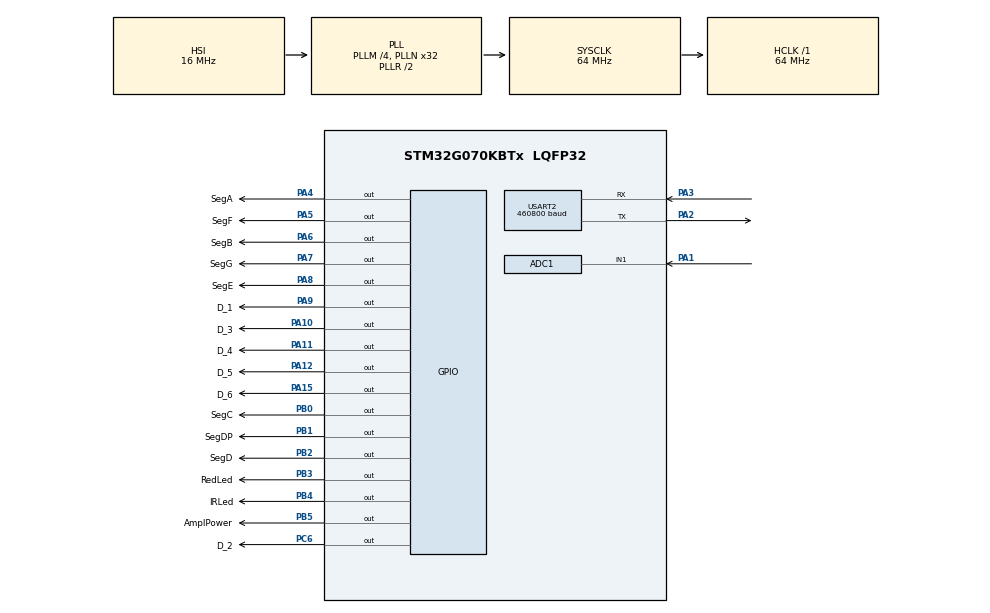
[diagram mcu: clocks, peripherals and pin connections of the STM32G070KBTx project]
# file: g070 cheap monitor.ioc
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ADC1.Channel-0\#ChannelRegularConversion=ADC_CHANNEL_1
ADC1.ClockPrescaler=ADC_CLOCK_ASYNC_DIV4
ADC1.ExternalTrigConv=ADC_SOFTWARE_START
ADC1.NbrOfConversionFlag=1
ADC1.OversamplingMode=ENABLE
ADC1.Rank-0\#ChannelRegularConversion=1
ADC1.Ratio=ADC_OVERSAMPLING_RATIO_16
ADC1.SamplingTime-0\#ChannelRegularConversion=ADC_SAMPLINGTIME_COMMON_1
ADC1.SamplingTimeCommon1=ADC_SAMPLETIME_39CYCLES_5
ADC1.SamplingTimeCommon2=ADC_SAMPLETIME_39CYCLES_5
ADC1.SelectedChannel=ADC_CHANNEL_1|ADC_CHANNEL_VREFINT
ADC1.master=1
IWDG.Prescaler=IWDG_PRESCALER_256
Mcu.Family=STM32G0
Mcu.Name=STM32G070KBTx
Mcu.Package=LQFP32
NVIC.TIM15_IRQn=true\:0\:0\:false\:false\:true\:true\:true
PA0.Mode=SYS_WakeUp0
PA0.Signal=SYS_WKUP1
PA1.Mode=IN1
PA1.Signal=ADC1_IN1
PA10.GPIO_Label=D_3
PA10.Signal=GPIO_Output
PA11\ [PA9].GPIO_Label=D_4
PA11\ [PA9].Signal=GPIO_Output
PA12\ [PA10].GPIO_Label=D_5
PA12\ [PA10].Signal=GPIO_Output
PA13.Mode=Serial_Wire
PA13.Signal=SYS_SWDIO
PA14-BOOT0.Mode=Serial_Wire
PA14-BOOT0.Signal=SYS_SWCLK
PA15.GPIO_Label=D_6
PA15.Signal=GPIO_Output
PA2.Mode=Asynchronous
PA2.Signal=USART2_TX
PA3.Mode=Asynchronous
PA3.Signal=USART2_RX
PA4.GPIO_Label=SegA
PA4.Signal=GPIO_Output
PA5.GPIO_Label=SegF
PA5.Signal=GPIO_Output
PA6.GPIO_Label=SegB
PA6.Signal=GPIO_Output
PA7.GPIO_Label=SegG
PA7.Signal=GPIO_Output
PA8.GPIO_Label=SegE
PA8.Signal=GPIO_Output
PA9.GPIO_Label=D_1
PA9.Signal=GPIO_Output
PB0.GPIO_Label=SegC
PB0.Signal=GPIO_Output
PB1.GPIO_Label=SegDP
PB1.Signal=GPIO_Output
PB2.GPIO_Label=SegD
PB2.Signal=GPIO_Output
PB3.GPIO_Label=RedLed
PB3.Signal=GPIO_Output
PB4.GPIO_Label=IRLed
PB4.Signal=GPIO_Output
PB5.GPIO_Label=AmplPower
PB5.Signal=GPIO_Output
PC6.GPIO_Label=D_2
PC6.Signal=GPIO_Output
ProjectManager.HeapSize=0x200
ProjectManager.StackSize=0x400
ProjectManager.TargetToolchain=MDK-ARM V5.27
RCC.ADCFreq_Value=64000000
RCC.AHBFreq_Value=64000000
RCC.CortexFreq_Value=64000000
RCC.EXTERNAL_CLOCK_VALUE=48000
RCC.HCLKFreq_Value=64000000
RCC.HSE_VALUE=8000000
RCC.HSI_VALUE=16000000
RCC.LSE_VALUE=32768
RCC.PLLM=RCC_PLLM_DIV4
RCC.PLLN=32
RCC.SYSCLKFreq_VALUE=64000000
RCC.SYSCLKSource=RCC_SYSCLKSOURCE_PLLCLK
RCC.VCOOutputFreq_Value=128000000
TIM15.AutoReloadPreload=TIM_AUTORELOAD_PRELOAD_ENABLE
TIM15.Period=7999
TIM15.Prescaler=9
TIM15.TIM_MasterOutputTrigger=TIM_TRGO_UPDATE
USART2.BaudRate=460800
USART2.Mode=MODE_TX
USART2.SwapParam=ADVFEATURE_SWAP_ENABLE
USART2.VirtualMode-Asynchronous=VM_ASYNC
VP_ADC1_Vref_Input.Mode=IN-Vrefint
VP_IWDG_VS_IWDG.Mode=IWDG_Activate
VP_SYS_VS_DBSignals.Mode=DisableDeadBatterySignals
VP_TIM15_VS_ClockSourceINT.Mode=Internal
board=custom

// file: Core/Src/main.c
/* USER CODE BEGIN Header */
/**
  ******************************************************************************
  * @file           : main.c
  * @brief          : Main program body
  ******************************************************************************
  * @attention
  *
  * <h2><center>&copy; Copyright (c) 2021 STMicroelectronics.
  * All rights reserved.</center></h2>
  *
  * This software component is licensed by ST under BSD 3-Clause license,
  * the "License"; You may not use this file except in compliance with the
  * License. You may obtain a copy of the License at:
  *                        opensource.org/licenses/BSD-3-Clause
  *
  ******************************************************************************
  */
/* USER CODE END Header */
#include "main.h"

ADC_HandleTypeDef hadc1;

IWDG_HandleTypeDef hiwdg;

TIM_HandleTypeDef htim15;

UART_HandleTypeDef huart2;

/* USER CODE BEGIN PV */
unsigned int const NBuf=2048;
	unsigned int const nfilt=12;//чизло значений для фильтрации
//unsigned int const nfilt=3;//чизло значений для фильтрации
	unsigned int const nminmax=255;//чизло значений для определения бывшего максимума и минимума
	//unsigned int const deadinterval=200;//защитный интервал - после него считаем новый максимум (2,5 Гц - 150 ударов в минуту и пополам)

	unsigned int const PorogRatioMax=85;//указание порога срабатывания в + как 70% от максимума (между средним и максимумом)
	unsigned int const PorogRatioMin=15;//указание порога срабатывания в - как 30% от максимума  (между средним и минимумом)
	unsigned int const PorogHyst=25;//гистерезис для среднего

unsigned int const FingerOutRed=65000;//порог, когда палец не вставлен для красного
unsigned int const FingerOutIR=65000;//порог, когда палец не вставлен для инфракрасного
unsigned int const NotFingerRed=50;//порог, когда вместо пальца непроницаемый для красного
unsigned int const NotFingerIR=50;//порог, когда вместо пальца непроницаемый для инфракрасного

unsigned int const BeginTimePulce=1500;//количество миллисекунд для раскачки - чтобы прошел первый полупериод пульса

//unsigned int const PulceMeaning=100;//количество точек пульса для усреднения
unsigned int const MinPulceLength=15;//минимальная длительность импульса пульса

char txt[255];
int lv=0;
int iii=0;

int adcbufred[NBuf];//буфер АЦП красного
int adcbufir[NBuf];//буфер АЦП инфракрасного
int sredir[NBuf];//буфер АЦП среднего инфракрасного
int flagmax[NBuf];//буфер флагов срабатывания

int tempfiltred[nfilt];//буфер для фильтрации скользящим средним
int tempfiltir[nfilt];//буфер для фильтрации скользящим средним
int redfilt[nminmax];//буфер для усреднения, определения максимума и минимума
int irfilt[nminmax];//буфер для усреднения, определения максимума и минимума

int ErrorFlag=0;//флаг ошибки 0 - норма, 1 - нет пальца на красном канале, 2 - нет пальца на ИК канале, 4 - низкий сигнал красного, 8 - низкий сигнал ИК, 16 - время не достигнуто
char flg=0;//флаг
char flg2=0;//флаг
char reddot=0;//флаг точки
char predflag=0;//предыдущий флаг

unsigned int indi=0;//счетчик проходов для индикации Берем такты 0,1,2 - индикация, 3 - АЦП, 4,5,6 - индикация, 7 - АЦП, итого 8 тактов, частота 800 Гц
int redtemp, irtemp,redmean,irmean,predred,predir;
char trigmax=1;//защелка максимума 0 - порог не пройден, 1 - порог пройден, считаем новый максимум, сброс в пороге минимуме, 1 - чтобы сразу начал считать
char trigmin=1;//защелка минимума 0 - порог не пройден, 1 - порог пройден, считаем новый минимум, сброс в пороге максимуме
int predfiltered=0;//флаг начала фильтрации

int nomfilt=0;//номер текущего элемента массива для фильтрации скользящим средним
int nomminmax=0;//номер текущего элемента для нахождения среднего, минимума, максимума

int redsk=0;
int irsk=0;//для фильтрации скользящим средним
int predirsk=0;//предыдущее значение

int redmax=0;
int redmin=65535;
int redsred=0;//среднее арифметическое

int irmax=0;
int irmin=65535;//максимум и минимум красного и инфракрасного, считаемые в текущий момент
int irsred=0;
int redmaxpred=0;
int redminpred=65535;
int irmaxpred=0;
int irminpred=65535;//максимум и минимум красного и инфракрасного, посчитанные в предыдущем периоде

//int redporogmax=0;//порог для триггера определения пульса по красному светодиоду
//int redporogmin=65535;
int irporogmax=0;//порог для триггера определения пульса по инфракрасному светодиоду
int irporogmin=65535;
int predirporogmax=0;//предыдущий порог

unsigned int ttek=0;//текущее время
unsigned int tbegper=0;//время начала периода - когда включили или нажали кнопку или вставили палец

/*unsigned int tredmax=0;
unsigned int tpredredmax=0;//время, когда был зафиксирован максимум и предыдущий максимум - по systick
unsigned int tirmax=0;
unsigned int tpredirmax=0;//время, когда был зафиксирован максимум и предыдущий максимум - по systick
unsigned int tredmin=0;
unsigned int tpredredmin=0;//время, когда был зафиксирован максимум и предыдущий максимум - по systick
unsigned int tirmin=0;
unsigned int tpredirmin=0;//время, когда был зафиксирован максимум и предыдущий максимум - по systick
*/
unsigned int tbegpulce=0;//время фронта пульсового максимума
unsigned int tendpulce=0;//время спада пульсового максимума
unsigned int predtbegpulce=0;//время фронта предыдущего пульсового максимума
unsigned int pulceperiod=0;//период пульса
unsigned int pulcecount=0;//счетчик пульса
int pulceBPM=-1;//количество ударов в минуту

/* USER CODE END PV */

void SystemClock_Config(void);
static void MX_GPIO_Init(void);
static void MX_ADC1_Init(void);
static void MX_IWDG_Init(void);
static void MX_TIM15_Init(void);
static void MX_USART2_UART_Init(void);

/* USER CODE BEGIN 0 */
//функция вывода на 7-сегментный индикатор цифры
void semisegment(int dig){
	unsigned char const snumber[] =//для общего катода, для общего анода надо инверсию
{
  0x3f, //0
  0x06, //1
  0x5b, //2
  0x4f, //3
  0x66, //4
  0x6d, //5
  0x7d, //6
  0x07, //7
  0x7f, //8
  0x6f,  //9
	0x77,//A
	0x7c,//b
	0x39,//C
	0x5E,//d
	0x79,//E
	0x71,//F
	0x00,//пробел
	0x40//черточка
};

	if((dig<0)|(dig>17)){return;} else //показываем
	{
		char displnum=(snumber[dig]);
		if(displnum&0x01){HAL_GPIO_WritePin(SegA_GPIO_Port,SegA_Pin,0);}else{HAL_GPIO_WritePin(SegA_GPIO_Port,SegA_Pin,1);};
		if(displnum&0x02){HAL_GPIO_WritePin(SegB_GPIO_Port,SegB_Pin,0);}else{HAL_GPIO_WritePin(SegB_GPIO_Port,SegB_Pin,1);};
		if(displnum&0x04){HAL_GPIO_WritePin(SegC_GPIO_Port,SegC_Pin,0);}else{HAL_GPIO_WritePin(SegC_GPIO_Port,SegC_Pin,1);};
		if(displnum&0x08){HAL_GPIO_WritePin(SegD_GPIO_Port,SegD_Pin,0);}else{HAL_GPIO_WritePin(SegD_GPIO_Port,SegD_Pin,1);};
		if(displnum&0x10){HAL_GPIO_WritePin(SegE_GPIO_Port,SegE_Pin,0);}else{HAL_GPIO_WritePin(SegE_GPIO_Port,SegE_Pin,1);};
		if(displnum&0x20){HAL_GPIO_WritePin(SegF_GPIO_Port,SegF_Pin,0);}else{HAL_GPIO_WritePin(SegF_GPIO_Port,SegF_Pin,1);};
		if(displnum&0x40){HAL_GPIO_WritePin(SegG_GPIO_Port,SegG_Pin,0);}else{HAL_GPIO_WritePin(SegG_GPIO_Port,SegG_Pin,1);};
	}

};

void HAL_TIM_PeriodElapsedCallback(TIM_HandleTypeDef *htim15)//заводим колбек на таймер
	{//у нас частота опроса АЦП 100 Гц, и показ трех цифр индикатора на один опрос. Берем такты 0,1,2 - индикация, 3 - АЦП, 4,5,6 - индикация, 7 - АЦП, итого 8 тактов, частота 800 Гц
		//при частоте 64 МГц коэффициент деления 80 000 = 10 предделитель (9+1), 8000 делитель (7999+1)
		//счетчик проходов
	if((indi==3)|(indi==7)){//опрашиваем АЦП
		//выключаем все индикаторы
				HAL_GPIO_WritePin(SegA_GPIO_Port,SegA_Pin,0);
				HAL_GPIO_WritePin(SegB_GPIO_Port,SegB_Pin,0);
				HAL_GPIO_WritePin(SegC_GPIO_Port,SegC_Pin,0);
				HAL_GPIO_WritePin(SegD_GPIO_Port,SegD_Pin,0);
				HAL_GPIO_WritePin(SegE_GPIO_Port,SegE_Pin,0);
				HAL_GPIO_WritePin(SegF_GPIO_Port,SegF_Pin,0);
				HAL_GPIO_WritePin(SegG_GPIO_Port,SegG_Pin,0);
				HAL_GPIO_WritePin(SegDP_GPIO_Port,SegDP_Pin,0);

			HAL_GPIO_WritePin(D_1_GPIO_Port,D_1_Pin,0);
			HAL_GPIO_WritePin(D_2_GPIO_Port,D_2_Pin,0);
			HAL_GPIO_WritePin(D_3_GPIO_Port,D_3_Pin,0);
			HAL_GPIO_WritePin(D_4_GPIO_Port,D_4_Pin,0);
			HAL_GPIO_WritePin(D_5_GPIO_Port,D_5_Pin,0);
			HAL_GPIO_WritePin(D_6_GPIO_Port,D_6_Pin,0);

		//включаем красный светодиод и считываем красный канал
					HAL_GPIO_WritePin(RedLed_GPIO_Port,RedLed_Pin,1);//Врубаем красный светодиод

		HAL_ADC_Start(&hadc1);
		HAL_ADC_PollForConversion(&hadc1,1);
		redtemp=HAL_ADC_GetValue(&hadc1);
		HAL_ADC_Stop(&hadc1);
		HAL_GPIO_WritePin(RedLed_GPIO_Port,RedLed_Pin,0);//Вырубаем красный светодиод
		//включаем инфракрасный светодиод и считываем инфракрасный канал
		HAL_GPIO_WritePin(IRLed_GPIO_Port,IRLed_Pin,1);//включаем инфракрасный
		HAL_ADC_Start(&hadc1);
		HAL_ADC_PollForConversion(&hadc1,1);
		irtemp=HAL_ADC_GetValue(&hadc1);
  	HAL_ADC_Stop(&hadc1);
		HAL_GPIO_WritePin(IRLed_GPIO_Port,IRLed_Pin,0);//выключаем инфракрасный
		//пока без фильтрации - для пробы. позже вставим из старого кода

	//фильтруем методом скользящего среднего - или вкорячиваем сюда цифровой фильтр потом

	//если мы только начинаем работу, и в буфере нет значений - заполняем все текущим значением

adcbufir[iii]=irtemp;//массив значений на вывод для контроля

	iii++;
	if(iii>NBuf){iii=0;flg2=1;};

	ttek=HAL_GetTick();//обновляем время

	//проверяем, вставлен ли палец - когда не вставлен, уровень очень большой
	//при ошибке обнуляем время
	if(redtemp>FingerOutRed){ErrorFlag|=1;} else {ErrorFlag&=~1;};
	if(irtemp>FingerOutIR){ErrorFlag|=2;} else {ErrorFlag&=~2;};
	if(redtemp<NotFingerRed){ErrorFlag|=4;} else {ErrorFlag&=~4;};
	if(irtemp<NotFingerIR){ErrorFlag|=8;} else {ErrorFlag&=~8;};

if (ErrorFlag==0){
	//записываем в массив фильтрации скользящим средним
	//если ещё не было записей
	if (!predfiltered){
		for(int jjj=0; jjj<nfilt;jjj++){
			tempfiltir[jjj]=irtemp;
			tempfiltred[jjj]=redtemp;

		}
	for(int jjj=0; jjj<nminmax;jjj++){
		irfilt[jjj]=irtemp;
		redfilt[jjj]=redtemp;
	};

		predfiltered=1;//массив заполнен одинаковыми значениями для фильтрации
	};

	tempfiltir[nomfilt]=irtemp;
	tempfiltred[nomfilt]=redtemp;
	nomfilt++;
	if(nomfilt>=nfilt){nomfilt=0;};

	redsk=0;
	irsk=0;
	for(int jjj=0; jjj<nfilt;jjj++){
	redsk+=tempfiltred[jjj];
	irsk+=tempfiltir[jjj];
	};
	redsk/=nfilt;
	irsk/=nfilt;//получаем значения, отфильтрованные скользящим средним

	adcbufred[iii]=irsk;//контроль эффективности фильтрации

	redmax=0;
redmin=65535;
redsred=0;//среднее арифметическое

irmax=0;
irmin=65535;//максимум и минимум красного и инфракрасного, считаемые в текущий момент
irsred=0;

	redfilt[nomminmax]=redsk;//заносим в массив для среднего, минимума, максимума
	irfilt[nomminmax]=irsk;
	nomminmax++;
	if(nomminmax>=nminmax){nomminmax=0;};

	//вычисляем среднее, минимальное, максимальное за Nminmax периодов для счета пульса и оксигенации
		for(int jjj=0; jjj<nminmax;jjj++){
		redsred+=redfilt[jjj];
		irsred+=irfilt[jjj];
		if (redfilt[jjj]>redmax){redmax=redfilt[jjj];};
		if(redfilt[jjj]<redmin){redmin=redfilt[jjj];};
		if(irfilt[jjj]>irmax){irmax=irfilt[jjj];};
		if(irfilt[jjj]<irmin){irmin=irfilt[jjj];};
		};
		redsred/=nminmax;
		irsred/=nminmax;//получаем среднее

		sredir[iii]=irsred;//контроль

		//и теперь, наконец, сравниваем для получения линии пульса
		//только ИК канал
		//порог - середина между максимумом и средним, чтобы отсечь малый максимум
		irporogmax=(irsred+irmax)/2;
		if(irsk>irporogmax){//ага, пульс
			flagmax[iii]=1;
			reddot=1;
		}else{
			flagmax[iii]=0;
			reddot=0;
		};

		if(reddot&(!predflag)){//ага, нарастание
			tbegpulce=ttek;//записываем текущее время в начало фронта
		}
		else if((!reddot)&predflag){//ага, спад
			tendpulce=ttek;//записываем текущее время в конец спада
			if((tendpulce-tbegpulce)>MinPulceLength){pulcecount++;//получаем время пульса

				// переделываем время пульса - на получаемое обратно периоду с усреднением по пяти ударам

			if((ttek-tbegper)>30000){	pulceBPM=(pulcecount*60000)/(ttek-tbegper);} else {pulceBPM=-1;}; //а если прошло больше 30 секунд - и количество ударов в минуту
			};
		};

		predflag=reddot;//переприсвоение

} else {//если ошибка
		tbegper=ttek;//обнуляем время
	pulcecount=0;//обнуляем счетчик
	pulceBPM=-1;//пишем черточки вместо показаний
		//	iii=0;//обнуляем массив
					redminpred=redmin;
			redmaxpred=redmax;

		redmax=0;
		redmin=65535;
		irmax=0;
		irmin=65535;

	}
		predred=redtemp;//предыдущие значения
	predir=irtemp;
}

		else if(indi==0){//индикация первой цифры
				HAL_GPIO_WritePin(D_1_GPIO_Port,D_1_Pin,1);//включаем первый индикатор
			HAL_GPIO_WritePin(D_2_GPIO_Port,D_2_Pin,0);//включаем первый индикатор
			HAL_GPIO_WritePin(D_3_GPIO_Port,D_3_Pin,0);//включаем первый индикатор

				if(pulceBPM<0){ //показываем прочерк
		semisegment(17);
	HAL_GPIO_WritePin(SegDP_GPIO_Port,SegDP_Pin,1);
} else
				if(pulceBPM<100){//гасим разряд
semisegment(16);
	HAL_GPIO_WritePin(SegDP_GPIO_Port,SegDP_Pin,1);
		} else semisegment(pulceBPM/100);			//старшая цифра
	}
			else if(indi==1){//индикация второй цифры
			HAL_GPIO_WritePin(D_1_GPIO_Port,D_1_Pin,0);//выключаем первый индикатор
			HAL_GPIO_WritePin(D_2_GPIO_Port,D_2_Pin,1);//включаем второй индикатор
			HAL_GPIO_WritePin(D_3_GPIO_Port,D_3_Pin,0);//выключаем третий индикатор

							if(pulceBPM<0){ //показываем прочерк
semisegment(17);
	HAL_GPIO_WritePin(SegDP_GPIO_Port,SegDP_Pin,1);
} else
				if(pulceBPM<10){//гасим разряд
semisegment(16);
	HAL_GPIO_WritePin(SegDP_GPIO_Port,SegDP_Pin,1);
		} else semisegment((pulceBPM%100)/10);			//средняя цифра

	}		else if(indi==2){//индикация третьей цифры
			HAL_GPIO_WritePin(D_1_GPIO_Port,D_1_Pin,0);//выключаем первый индикатор
			HAL_GPIO_WritePin(D_2_GPIO_Port,D_2_Pin,0);//выключаем второй индикатор
			HAL_GPIO_WritePin(D_3_GPIO_Port,D_3_Pin,1);//включаем третий индикатор

		HAL_GPIO_WritePin(SegDP_GPIO_Port,SegDP_Pin,!reddot);//включаем точку - показываем, что пульс идет

		if(pulceBPM<0){ //показываем прочерк
semisegment(17);
	//HAL_GPIO_WritePin(SegDP_GPIO_Port,SegDP_Pin,1);
} else {
	semisegment(pulceBPM%10);			//младшая цифра

	}
}

indi++;
if(indi>7){indi=0;};
		HAL_IWDG_Refresh(&hiwdg);

}

/* USER CODE END 0 */

int main(void)
{

  /* MCU Configuration--------------------------------------------------------*/

  /* Reset of all peripherals, Initializes the Flash interface and the Systick. */
  HAL_Init();

  /* Configure the system clock */
  SystemClock_Config();

  /* Initialize all configured peripherals */
  MX_GPIO_Init();
  MX_ADC1_Init();
  MX_IWDG_Init();
  MX_TIM15_Init();
  MX_USART2_UART_Init();
  /* USER CODE BEGIN 2 */
	//рапортуем о включении
	lv=snprintf(txt,255,"\r\nLED Pulce Ox Meter\r\n");
	HAL_UART_Transmit(&huart2,txt,lv,100);
	//включаем усилитель
HAL_GPIO_WritePin(AmplPower_GPIO_Port,AmplPower_Pin,1);
//	HAL_GPIO_WritePin(AmplPower_GPIO_Port,AmplPower_Pin,0);
	//ждем чутка
	HAL_Delay(100);
	tbegper=HAL_GetTick();//начало отсчета
HAL_TIM_Base_Start_IT(&htim15);//стартуем
  /* USER CODE END 2 */

  /* Infinite loop */
  while (1)
  {

    /* USER CODE BEGIN 3 */
	HAL_Delay(25000);
		//выключаем таймер, пока отчитываемся
//HAL_TIM_Base_Stop(&htim15);//стартуем
			//отчитываемся для теста

		if(ErrorFlag&1){
	lv=snprintf(txt,255,"\r\nFinger Out Red\r\n");
	HAL_UART_Transmit(&huart2,txt,lv,100);
	};
 if(ErrorFlag&2){
		lv=snprintf(txt,255,"\r\nFinger Out IR\r\n");
	HAL_UART_Transmit(&huart2,txt,lv,100);
	};
 if(ErrorFlag&4){
	lv=snprintf(txt,255,"\r\nSignal Red Too Low\r\n");
	HAL_UART_Transmit(&huart2,txt,lv,100);
	};
 if(ErrorFlag&8){
		lv=snprintf(txt,255,"\r\nSignal IR Too Low\r\n");
	HAL_UART_Transmit(&huart2,txt,lv,100);
	};

	if (flg2){
	flg2=0;
//	lv=snprintf(txt,255,"\n\rRed;");
		lv=snprintf(txt,255,"\n\rIR sk;");
HAL_UART_Transmit(&huart2,txt,lv,100);
	for(int jjj=0;jjj<NBuf;jjj++){
lv=snprintf(txt,255," %d;",adcbufred[jjj]);
		HAL_UART_Transmit(&huart2,txt,lv,100);
		//и очищаем только что прочитанное значение
		adcbufred[jjj]=0;
	}
		lv=snprintf(txt,255,"\n\rIR;");
HAL_UART_Transmit(&huart2,txt,lv,100);
	for(int jjj=0;jjj<NBuf;jjj++){
lv=snprintf(txt,255," %d;",adcbufir[jjj]);
		HAL_UART_Transmit(&huart2,txt,lv,100);
		adcbufir[jjj]=0;
	}

			lv=snprintf(txt,255,"\n\rIR sred;");
HAL_UART_Transmit(&huart2,txt,lv,100);
	for(int jjj=0;jjj<NBuf;jjj++){
lv=snprintf(txt,255," %d;",sredir[jjj]);
		HAL_UART_Transmit(&huart2,txt,lv,100);
		adcbufir[jjj]=0;
	}

	lv=snprintf(txt,255,"\n\rFlag;");
HAL_UART_Transmit(&huart2,txt,lv,100);
	for(int jjj=0;jjj<NBuf;jjj++){
lv=snprintf(txt,255," %d;",flagmax[jjj]);
		HAL_UART_Transmit(&huart2,txt,lv,100);
		flagmax[jjj]=0;
	}

			lv=snprintf(txt,255,"\r\niii %d predfiltered %d  red %d ir %d time %d red max %d min %d sred %d ir max %d min %d sred %d pulceBPM %d pulcecount %d error %d\r\n",
		iii,predfiltered,redtemp,irtemp,ttek,redmax,redmin,redsred,irmax,irmin,irsred,pulceBPM,pulcecount, ErrorFlag);
	HAL_UART_Transmit(&huart2,txt,lv,100);

}
//опять включаем таймер
//HAL_TIM_Base_Start_IT(&htim15);//стартуем

		HAL_IWDG_Refresh(&hiwdg);
  }
  /* USER CODE END 3 */
}

void SystemClock_Config(void)
{
  RCC_OscInitTypeDef RCC_OscInitStruct = {0};
  RCC_ClkInitTypeDef RCC_ClkInitStruct = {0};
  RCC_PeriphCLKInitTypeDef PeriphClkInit = {0};

  /** Configure the main internal regulator output voltage
  */
  HAL_PWREx_ControlVoltageScaling(PWR_REGULATOR_VOLTAGE_SCALE1);
  /** Initializes the RCC Oscillators according to the specified parameters
  * in the RCC_OscInitTypeDef structure.
  */
  RCC_OscInitStruct.OscillatorType = RCC_OSCILLATORTYPE_HSI|RCC_OSCILLATORTYPE_LSI;
  RCC_OscInitStruct.HSIState = RCC_HSI_ON;
  RCC_OscInitStruct.HSIDiv = RCC_HSI_DIV1;
  RCC_OscInitStruct.HSICalibrationValue = RCC_HSICALIBRATION_DEFAULT;
  RCC_OscInitStruct.LSIState = RCC_LSI_ON;
  RCC_OscInitStruct.PLL.PLLState = RCC_PLL_ON;
  RCC_OscInitStruct.PLL.PLLSource = RCC_PLLSOURCE_HSI;
  RCC_OscInitStruct.PLL.PLLM = RCC_PLLM_DIV4;
  RCC_OscInitStruct.PLL.PLLN = 32;
  RCC_OscInitStruct.PLL.PLLP = RCC_PLLP_DIV2;
  RCC_OscInitStruct.PLL.PLLR = RCC_PLLR_DIV2;
  if (HAL_RCC_OscConfig(&RCC_OscInitStruct) != HAL_OK)
  {
    Error_Handler();
  }
  /** Initializes the CPU, AHB and APB buses clocks
  */
  RCC_ClkInitStruct.ClockType = RCC_CLOCKTYPE_HCLK|RCC_CLOCKTYPE_SYSCLK
                              |RCC_CLOCKTYPE_PCLK1;
  RCC_ClkInitStruct.SYSCLKSource = RCC_SYSCLKSOURCE_PLLCLK;
  RCC_ClkInitStruct.AHBCLKDivider = RCC_SYSCLK_DIV1;
  RCC_ClkInitStruct.APB1CLKDivider = RCC_HCLK_DIV1;

  if (HAL_RCC_ClockConfig(&RCC_ClkInitStruct, FLASH_LATENCY_2) != HAL_OK)
  {
    Error_Handler();
  }
  /** Initializes the peripherals clocks
  */
  PeriphClkInit.PeriphClockSelection = RCC_PERIPHCLK_USART2|RCC_PERIPHCLK_ADC;
  PeriphClkInit.Usart2ClockSelection = RCC_USART2CLKSOURCE_PCLK1;
  PeriphClkInit.AdcClockSelection = RCC_ADCCLKSOURCE_SYSCLK;
  if (HAL_RCCEx_PeriphCLKConfig(&PeriphClkInit) != HAL_OK)
  {
    Error_Handler();
  }
}

static void MX_ADC1_Init(void)
{

  ADC_ChannelConfTypeDef sConfig = {0};

  /** Configure the global features of the ADC (Clock, Resolution, Data Alignment and number of conversion)
  */
  hadc1.Instance = ADC1;
  hadc1.Init.ClockPrescaler = ADC_CLOCK_ASYNC_DIV4;
  hadc1.Init.Resolution = ADC_RESOLUTION_12B;
  hadc1.Init.DataAlign = ADC_DATAALIGN_RIGHT;
  hadc1.Init.ScanConvMode = ADC_SCAN_DISABLE;
  hadc1.Init.EOCSelection = ADC_EOC_SINGLE_CONV;
  hadc1.Init.LowPowerAutoWait = DISABLE;
  hadc1.Init.LowPowerAutoPowerOff = DISABLE;
  hadc1.Init.ContinuousConvMode = DISABLE;
  hadc1.Init.NbrOfConversion = 1;
  hadc1.Init.DiscontinuousConvMode = DISABLE;
  hadc1.Init.ExternalTrigConv = ADC_SOFTWARE_START;
  hadc1.Init.ExternalTrigConvEdge = ADC_EXTERNALTRIGCONVEDGE_NONE;
  hadc1.Init.DMAContinuousRequests = DISABLE;
  hadc1.Init.Overrun = ADC_OVR_DATA_PRESERVED;
  hadc1.Init.SamplingTimeCommon1 = ADC_SAMPLETIME_39CYCLES_5;
  hadc1.Init.SamplingTimeCommon2 = ADC_SAMPLETIME_39CYCLES_5;
  hadc1.Init.OversamplingMode = ENABLE;
  hadc1.Init.Oversampling.Ratio = ADC_OVERSAMPLING_RATIO_16;
  hadc1.Init.Oversampling.RightBitShift = ADC_RIGHTBITSHIFT_NONE;
  hadc1.Init.Oversampling.TriggeredMode = ADC_TRIGGEREDMODE_SINGLE_TRIGGER;
  hadc1.Init.TriggerFrequencyMode = ADC_TRIGGER_FREQ_HIGH;
  if (HAL_ADC_Init(&hadc1) != HAL_OK)
  {
    Error_Handler();
  }
  /** Configure Regular Channel
  */
  sConfig.Channel = ADC_CHANNEL_1;
  sConfig.Rank = ADC_REGULAR_RANK_1;
  sConfig.SamplingTime = ADC_SAMPLINGTIME_COMMON_1;
  if (HAL_ADC_ConfigChannel(&hadc1, &sConfig) != HAL_OK)
  {
    Error_Handler();
  }

}

static void MX_IWDG_Init(void)
{

  hiwdg.Instance = IWDG;
  hiwdg.Init.Prescaler = IWDG_PRESCALER_256;
  hiwdg.Init.Window = 4095;
  hiwdg.Init.Reload = 4095;
  if (HAL_IWDG_Init(&hiwdg) != HAL_OK)
  {
    Error_Handler();
  }

}

static void MX_TIM15_Init(void)
{

  TIM_ClockConfigTypeDef sClockSourceConfig = {0};
  TIM_MasterConfigTypeDef sMasterConfig = {0};

  htim15.Instance = TIM15;
  htim15.Init.Prescaler = 9;
  htim15.Init.CounterMode = TIM_COUNTERMODE_UP;
  htim15.Init.Period = 7999;
  htim15.Init.ClockDivision = TIM_CLOCKDIVISION_DIV1;
  htim15.Init.RepetitionCounter = 0;
  htim15.Init.AutoReloadPreload = TIM_AUTORELOAD_PRELOAD_ENABLE;
  if (HAL_TIM_Base_Init(&htim15) != HAL_OK)
  {
    Error_Handler();
  }
  sClockSourceConfig.ClockSource = TIM_CLOCKSOURCE_INTERNAL;
  if (HAL_TIM_ConfigClockSource(&htim15, &sClockSourceConfig) != HAL_OK)
  {
    Error_Handler();
  }
  sMasterConfig.MasterOutputTrigger = TIM_TRGO_UPDATE;
  sMasterConfig.MasterSlaveMode = TIM_MASTERSLAVEMODE_DISABLE;
  if (HAL_TIMEx_MasterConfigSynchronization(&htim15, &sMasterConfig) != HAL_OK)
  {
    Error_Handler();
  }

}

static void MX_USART2_UART_Init(void)
{

  huart2.Instance = USART2;
  huart2.Init.BaudRate = 460800;
  huart2.Init.WordLength = UART_WORDLENGTH_8B;
  huart2.Init.StopBits = UART_STOPBITS_1;
  huart2.Init.Parity = UART_PARITY_NONE;
  huart2.Init.Mode = UART_MODE_TX;
  huart2.Init.HwFlowCtl = UART_HWCONTROL_NONE;
  huart2.Init.OverSampling = UART_OVERSAMPLING_16;
  huart2.Init.OneBitSampling = UART_ONE_BIT_SAMPLE_DISABLE;
  huart2.Init.ClockPrescaler = UART_PRESCALER_DIV1;
  huart2.AdvancedInit.AdvFeatureInit = UART_ADVFEATURE_SWAP_INIT;
  huart2.AdvancedInit.Swap = UART_ADVFEATURE_SWAP_ENABLE;
  if (HAL_UART_Init(&huart2) != HAL_OK)
  {
    Error_Handler();
  }
  if (HAL_UARTEx_SetTxFifoThreshold(&huart2, UART_TXFIFO_THRESHOLD_1_8) != HAL_OK)
  {
    Error_Handler();
  }
  if (HAL_UARTEx_SetRxFifoThreshold(&huart2, UART_RXFIFO_THRESHOLD_1_8) != HAL_OK)
  {
    Error_Handler();
  }
  if (HAL_UARTEx_DisableFifoMode(&huart2) != HAL_OK)
  {
    Error_Handler();
  }

}

static void MX_GPIO_Init(void)
{
  GPIO_InitTypeDef GPIO_InitStruct = {0};

  /* GPIO Ports Clock Enable */
  __HAL_RCC_GPIOB_CLK_ENABLE();
  __HAL_RCC_GPIOC_CLK_ENABLE();
  __HAL_RCC_GPIOA_CLK_ENABLE();

  /*Configure GPIO pin Output Level */
  HAL_GPIO_WritePin(GPIOA, SegA_Pin|SegF_Pin|SegB_Pin|SegG_Pin
                          |SegE_Pin|D_1_Pin|D_3_Pin|D_4_Pin
                          |D_5_Pin|D_6_Pin, GPIO_PIN_RESET);

  /*Configure GPIO pin Output Level */
  HAL_GPIO_WritePin(GPIOB, SegC_Pin|SegDP_Pin|SegD_Pin|RedLed_Pin
                          |IRLed_Pin|AmplPower_Pin, GPIO_PIN_RESET);

  /*Configure GPIO pin Output Level */
  HAL_GPIO_WritePin(D_2_GPIO_Port, D_2_Pin, GPIO_PIN_RESET);

  /*Configure GPIO pins : PB9 PB6 PB7 PB8 */
  GPIO_InitStruct.Pin = GPIO_PIN_9|GPIO_PIN_6|GPIO_PIN_7|GPIO_PIN_8;
  GPIO_InitStruct.Mode = GPIO_MODE_ANALOG;
  GPIO_InitStruct.Pull = GPIO_NOPULL;
  HAL_GPIO_Init(GPIOB, &GPIO_InitStruct);

  /*Configure GPIO pins : PC14 PC15 */
  GPIO_InitStruct.Pin = GPIO_PIN_14|GPIO_PIN_15;
  GPIO_InitStruct.Mode = GPIO_MODE_ANALOG;
  GPIO_InitStruct.Pull = GPIO_NOPULL;
  HAL_GPIO_Init(GPIOC, &GPIO_InitStruct);

  /*Configure GPIO pins : SegA_Pin SegF_Pin SegB_Pin SegG_Pin
                           SegE_Pin D_1_Pin D_3_Pin D_4_Pin
                           D_5_Pin D_6_Pin */
  GPIO_InitStruct.Pin = SegA_Pin|SegF_Pin|SegB_Pin|SegG_Pin
                          |SegE_Pin|D_1_Pin|D_3_Pin|D_4_Pin
                          |D_5_Pin|D_6_Pin;
  GPIO_InitStruct.Mode = GPIO_MODE_OUTPUT_PP;
  GPIO_InitStruct.Pull = GPIO_NOPULL;
  GPIO_InitStruct.Speed = GPIO_SPEED_FREQ_LOW;
  HAL_GPIO_Init(GPIOA, &GPIO_InitStruct);

  /*Configure GPIO pins : SegC_Pin SegDP_Pin SegD_Pin RedLed_Pin
                           IRLed_Pin AmplPower_Pin */
  GPIO_InitStruct.Pin = SegC_Pin|SegDP_Pin|SegD_Pin|RedLed_Pin
                          |IRLed_Pin|AmplPower_Pin;
  GPIO_InitStruct.Mode = GPIO_MODE_OUTPUT_PP;
  GPIO_InitStruct.Pull = GPIO_NOPULL;
  GPIO_InitStruct.Speed = GPIO_SPEED_FREQ_LOW;
  HAL_GPIO_Init(GPIOB, &GPIO_InitStruct);

  /*Configure GPIO pin : D_2_Pin */
  GPIO_InitStruct.Pin = D_2_Pin;
  GPIO_InitStruct.Mode = GPIO_MODE_OUTPUT_PP;
  GPIO_InitStruct.Pull = GPIO_NOPULL;
  GPIO_InitStruct.Speed = GPIO_SPEED_FREQ_LOW;
  HAL_GPIO_Init(D_2_GPIO_Port, &GPIO_InitStruct);

}

void Error_Handler(void)
{
  __disable_irq();
  while (1)
  {
  }
}

/************************ (C) COPYRIGHT STMicroelectronics *****END OF FILE****/
